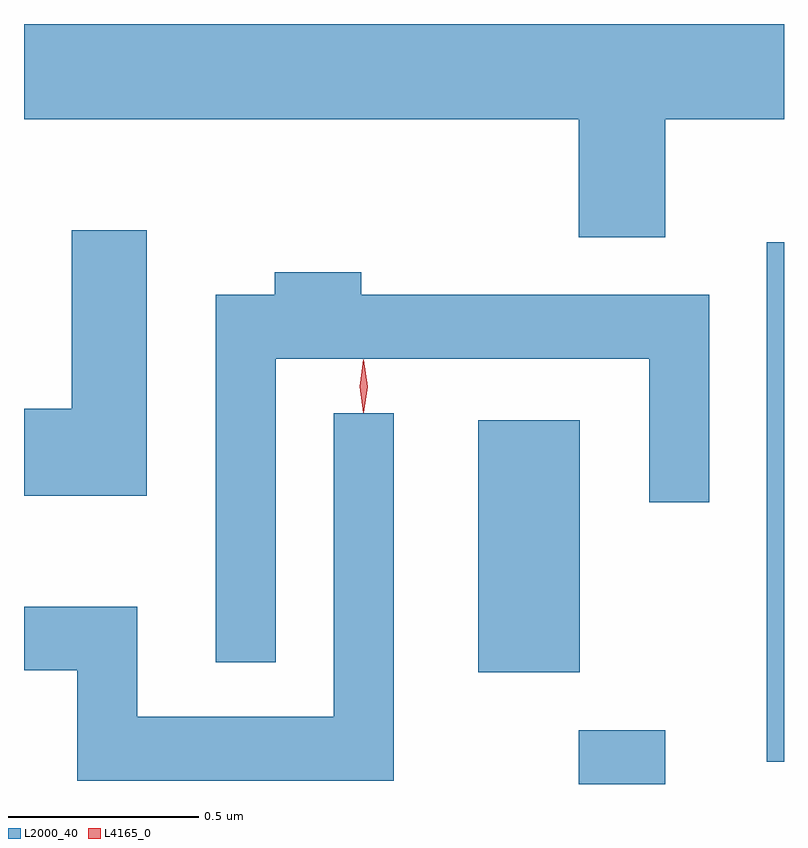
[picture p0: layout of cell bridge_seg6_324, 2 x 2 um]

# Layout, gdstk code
import gdstk
lib = gdstk.Library(unit=1e-6, precision=1e-09)
def R(c, l, rs):  # rectangles x0, y0, x1, y1
    for r in rs: c.add(gdstk.rectangle(r[:2], r[2:], *l))
def P(c, l, *ps):  # polygons
    for p in ps: c.add(gdstk.Polygon(p, *l))
L2000_40 = (2000, 40)
L4165_0 = (4165, 0)

bridge_seg6_324 = lib.new_cell('bridge_seg6_324')
R(bridge_seg6_324, L2000_40, [(1299.251,1532.747,1299.479,1532.889), (1299.746,1532.806,1299.791,1534.173), (1298.986,1533.041,1299.254,1533.704)])
P(bridge_seg6_324, L2000_40, [(1299.479,1534.496),(1299.791,1534.496),(1299.791,1534.747),(1297.791,1534.747),(1297.791,1534.496),(1299.251,1534.496),(1299.251,1534.186),(1299.479,1534.186)],
  [(1298.114,1534.204),(1297.916,1534.204),(1297.916,1533.734),(1297.791,1533.734),(1297.791,1533.506),(1298.114,1533.506)],
  [(1298.454,1533.866),(1299.436,1533.866),(1299.436,1533.488),(1299.594,1533.488),(1299.594,1534.034),(1298.679,1534.034),(1298.679,1534.094),(1298.451,1534.094),(1298.451,1534.034),(1298.296,1534.034),(1298.296,1533.068),(1298.454,1533.068)],
  [(1298.764,1533.723),(1298.606,1533.723),(1298.606,1532.924),(1298.089,1532.924),(1298.089,1533.214),(1297.791,1533.214),(1297.791,1533.046),(1297.931,1533.046),(1297.931,1532.756),(1298.764,1532.756)])
P(bridge_seg6_324, L4165_0, [(1298.684,1533.724),(1298.675,1533.793),(1298.684,1533.863),(1298.685,1533.863),(1298.685,1533.863),(1298.695,1533.793),(1298.685,1533.724),(1298.685,1533.724)],
  [(1298.684,1533.727),(1298.684,1533.727),(1298.674,1533.794),(1298.684,1533.86),(1298.684,1533.861),(1298.685,1533.86),(1298.694,1533.794),(1298.685,1533.727)])

lib.write_gds('bridge_seg6_324.gds')
